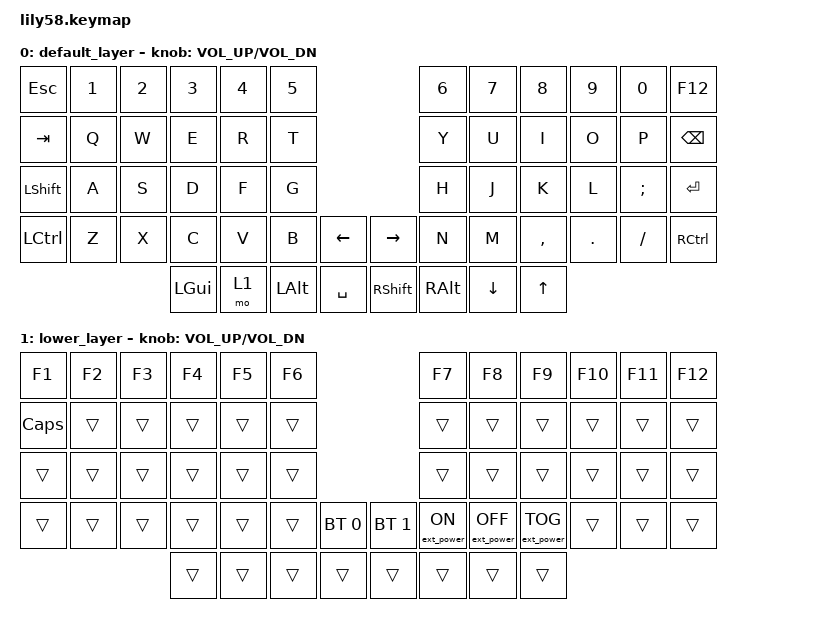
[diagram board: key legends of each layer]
/*
 * Copyright (c) 2020 The ZMK Contributors
 *
 * SPDX-License-Identifier: MIT
 */

#include <behaviors.dtsi>
#include <dt-bindings/zmk/keys.h>
#include <dt-bindings/zmk/bt.h>
#include <dt-bindings/zmk/ext_power.h>

/ {
    keymap {
        compatible = "zmk,keymap";

        default_layer {
            bindings = <
&kp ESC    &kp N1  &kp N2  &kp N3   &kp N4   &kp N5                            &kp N6    &kp N7    &kp N8     &kp N9   &kp N0    &kp F12
&kp TAB    &kp Q   &kp W   &kp E    &kp R    &kp T                             &kp Y     &kp U     &kp I      &kp O    &kp P     &kp BSPC
&kp LSHFT  &kp A   &kp S   &kp D    &kp F    &kp G                             &kp H     &kp J     &kp K      &kp L    &kp SEMI  &kp RET
&kp LCTRL  &kp Z   &kp X   &kp C    &kp V    &kp B     &kp LEFT     &kp RIGHT  &kp N     &kp M     &kp COMMA  &kp DOT  &kp FSLH  &kp RCTRL
                           &kp LGUI &mo 1    &kp LALT  &kp SPACE    &kp RSHFT  &kp RALT  &kp DOWN  &kp UP
            >;

            sensor-bindings = <&inc_dec_kp C_VOL_UP C_VOL_DN>;
        };

        lower_layer {
            bindings = <
&kp F1     &kp F2  &kp F3  &kp F4   &kp F5   &kp F6                                &kp F7            &kp F8             &kp F9             &kp F10   &kp F11   &kp F12
&kp CAPS   &trans  &trans  &trans   &trans   &trans                                &trans            &trans             &trans             &trans    &trans    &trans
&trans     &trans  &trans  &trans   &trans   &trans                                &trans            &trans             &trans             &trans    &trans    &trans
&trans     &trans  &trans  &trans   &trans   &trans    &bt BT_SEL 0  &bt BT_SEL 1  &ext_power EP_ON  &ext_power EP_OFF  &ext_power EP_TOG  &trans    &trans    &trans
                           &trans   &trans   &trans    &trans        &trans        &trans            &trans             &trans
            >;

            sensor-bindings = <&inc_dec_kp C_VOL_UP C_VOL_DN>;
        };
    };
};
